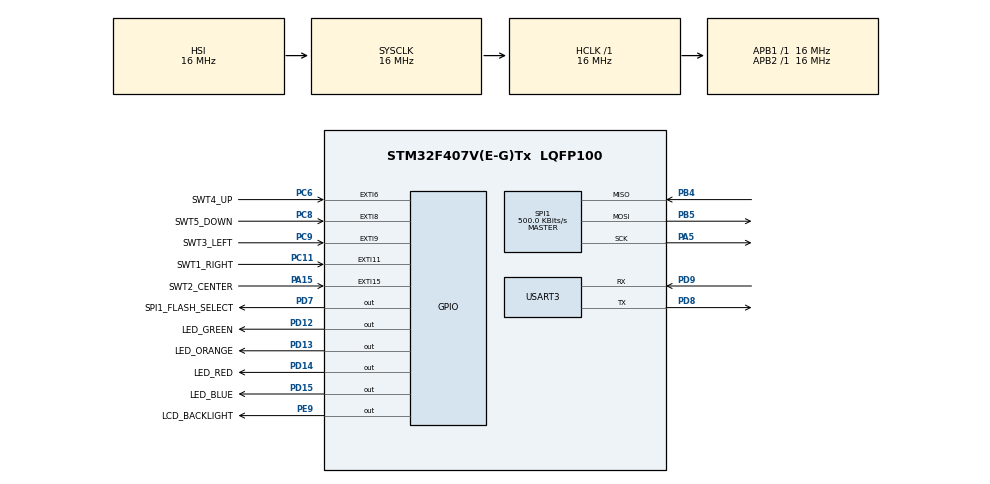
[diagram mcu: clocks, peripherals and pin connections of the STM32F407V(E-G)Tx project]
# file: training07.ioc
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Dma.Request0=USART3_TX
Dma.USART3_TX.0.Direction=DMA_MEMORY_TO_PERIPH
Dma.USART3_TX.0.FIFOMode=DMA_FIFOMODE_DISABLE
Dma.USART3_TX.0.Instance=DMA1_Stream3
Dma.USART3_TX.0.MemDataAlignment=DMA_MDATAALIGN_BYTE
Dma.USART3_TX.0.MemInc=DMA_MINC_ENABLE
Dma.USART3_TX.0.Mode=DMA_NORMAL
Dma.USART3_TX.0.PeriphDataAlignment=DMA_PDATAALIGN_BYTE
Dma.USART3_TX.0.PeriphInc=DMA_PINC_DISABLE
Dma.USART3_TX.0.Priority=DMA_PRIORITY_LOW
Mcu.Family=STM32F4
Mcu.Name=STM32F407V(E-G)Tx
Mcu.Package=LQFP100
NVIC.DMA1_Stream3_IRQn=true\:0\:0\:false\:false\:true\:false\:true
NVIC.EXTI15_10_IRQn=true\:0\:0\:false\:false\:true\:true\:true
NVIC.EXTI9_5_IRQn=true\:0\:0\:false\:false\:true\:true\:true
NVIC.PriorityGroup=NVIC_PRIORITYGROUP_4
NVIC.USART3_IRQn=true\:0\:0\:false\:false\:true\:true\:true
PA13.Mode=Trace_Asynchronous_SW
PA13.Signal=SYS_JTMS-SWDIO
PA14.Mode=Trace_Asynchronous_SW
PA14.Signal=SYS_JTCK-SWCLK
PA15.GPIO_Label=SWT2_CENTER
PA15.GPIO_ModeDefaultEXTI=GPIO_MODE_IT_FALLING
PA15.Signal=GPXTI15
PA5.Mode=Full_Duplex_Master
PA5.Signal=SPI1_SCK
PB3.Mode=Trace_Asynchronous_SW
PB3.Signal=SYS_JTDO-SWO
PB4.Mode=Full_Duplex_Master
PB4.Signal=SPI1_MISO
PB5.Mode=Full_Duplex_Master
PB5.Signal=SPI1_MOSI
PC11.GPIO_Label=SWT1_RIGHT
PC11.GPIO_ModeDefaultEXTI=GPIO_MODE_IT_FALLING
PC11.Signal=GPXTI11
PC6.GPIO_Label=SWT4_UP
PC6.GPIO_ModeDefaultEXTI=GPIO_MODE_IT_FALLING
PC6.Signal=GPXTI6
PC8.GPIO_Label=SWT5_DOWN
PC8.GPIO_ModeDefaultEXTI=GPIO_MODE_IT_FALLING
PC8.Signal=GPXTI8
PC9.GPIO_Label=SWT3_LEFT
PC9.GPIO_ModeDefaultEXTI=GPIO_MODE_IT_FALLING
PC9.Signal=GPXTI9
PD12.GPIO_Label=LED_GREEN
PD12.GPIO_PuPd=GPIO_PULLDOWN
PD12.Signal=GPIO_Output
PD13.GPIO_Label=LED_ORANGE
PD13.GPIO_PuPd=GPIO_PULLDOWN
PD13.Signal=GPIO_Output
PD14.GPIO_Label=LED_RED
PD14.GPIO_PuPd=GPIO_PULLDOWN
PD14.Signal=GPIO_Output
PD15.GPIO_Label=LED_BLUE
PD15.GPIO_PuPd=GPIO_PULLDOWN
PD15.Signal=GPIO_Output
PD7.GPIO_Label=SPI1_FLASH_SELECT
PD7.GPIO_Speed=GPIO_SPEED_FREQ_HIGH
PD7.PinState=GPIO_PIN_SET
PD7.Signal=GPIO_Output
PD8.Mode=Asynchronous
PD8.Signal=USART3_TX
PD9.Mode=Asynchronous
PD9.Signal=USART3_RX
PE9.GPIO_Label=LCD_BACKLIGHT
PE9.GPIO_ModeDefaultOutputPP=GPIO_MODE_OUTPUT_PP
PE9.Signal=GPIO_Output
PH0-OSC_IN.Mode=HSE-External-Oscillator
PH0-OSC_IN.Signal=RCC_OSC_IN
PH1-OSC_OUT.Mode=HSE-External-Oscillator
PH1-OSC_OUT.Signal=RCC_OSC_OUT
ProjectManager.HeapSize=0x200
ProjectManager.StackSize=0x400
ProjectManager.TargetToolchain=STM32CubeIDE
RCC.48MHZClocksFreq_Value=48000000
RCC.AHBFreq_Value=16000000
RCC.APB1Freq_Value=16000000
RCC.APB1TimFreq_Value=16000000
RCC.APB2Freq_Value=16000000
RCC.APB2TimFreq_Value=16000000
RCC.CortexFreq_Value=16000000
RCC.HCLKFreq_Value=16000000
RCC.HSE_VALUE=8000000
RCC.HSI_VALUE=16000000
RCC.LSE_VALUE=32768
RCC.PLLM=8
RCC.PLLSourceVirtual=RCC_PLLSOURCE_HSE
RCC.SYSCLKFreq_VALUE=16000000
RCC.VCOOutputFreq_Value=192000000
SPI1.BaudRatePrescaler=SPI_BAUDRATEPRESCALER_32
SPI1.CalculateBaudRate=500.0 KBits/s
SPI1.Direction=SPI_DIRECTION_2LINES
SPI1.Mode=SPI_MODE_MASTER
SPI1.VirtualType=VM_MASTER
USART3.VirtualMode=VM_ASYNC
board=custom

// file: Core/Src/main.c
/* USER CODE BEGIN Header */
/**
  ******************************************************************************
  * @file           : main.c
  * @brief          : Main program body
  ******************************************************************************
  * @attention
  *
  * <h2><center>&copy; Copyright (c) 2021 STMicroelectronics.
  * All rights reserved.</center></h2>
  *
  * This software component is licensed by ST under BSD 3-Clause license,
  * the "License"; You may not use this file except in compliance with the
  * License. You may obtain a copy of the License at:
  *                        opensource.org/licenses/BSD-3-Clause
  *
  ******************************************************************************
  */
/* USER CODE END Header */
#include "main.h"

/* USER CODE BEGIN Includes */
#include <stdio.h>
#include <ctype.h>
#include <string.h>
#include "print.h"
#include "SST25VF016B.h"
/* USER CODE END Includes */

/* USER CODE BEGIN PTD */
typedef enum {
	CMD_NONE = 0,
	CMD_READ,
	CMD_ERASE,
	CMD_WRITE,
} FlashCmd_t;
/* USER CODE END PTD */

/* USER CODE BEGIN PD */
#define PAGE_SIZE 4096
/* USER CODE END PD */

/* USER CODE BEGIN PM */
#define xstr(s) str(s)
#define str(s) #s
/* USER CODE END PM */

SPI_HandleTypeDef hspi1;

UART_HandleTypeDef huart3;
DMA_HandleTypeDef hdma_usart3_tx;

/* USER CODE BEGIN PV */
#define MAX_LINE_LEN 80
char lineBuffer[MAX_LINE_LEN] = {0};

#define TEXT_LINES 20
const char *text[TEXT_LINES] = {
		"From: Dmytro Kovalenko, dmytro.se.kovalenko@gmail.com\n",
		"Mentor: Denys Kondratenko, denys.kondratenko@globallogic.com\n",
		"Date: 2021.11.24\n",
		"TIME CAPSULE\n",
		" -- Brian W. Kernighan -- \n",
		"Don’t comment bad code—rewrite it.\n",
		"C is not a big language, and it is not well served by a big book.\n",
		" -- Linus Torvalds -- \n",
		"Software is like sex : it's better when it's free...\n",
		"Given enough eyeballs, all bugs are shallow.\n",
		"I'd argue that everybody wants to do something that matters.\n",
		"Talk is cheap. Show me the code.\n",
		" -- Bjarne Stroustrup -- \n",
		"If you think it's simple, then you have misunderstood the problem.\n",
		"Proof by analogy is fraud.\n",
		"Do not proceed with a mess, messes just grow with time.\n",
		" -- Steve Jobs -- \n",
		"Things don't have to change the world to be important.\n",
		" -- Elon Musk -- \n",
		"Any product that needs a manual to work is broken.\n"
};

volatile FlashCmd_t command = CMD_NONE;
/* USER CODE END PV */

void SystemClock_Config(void);
static void MX_GPIO_Init(void);
static void MX_DMA_Init(void);
static void MX_USART3_UART_Init(void);
static void MX_SPI1_Init(void);

/* USER CODE BEGIN 0 */
void readMem(SPIMEM_HandleDef *hmem) {
	print("> Chip read...\n");
	char lineBuf[MAX_LINE_LEN];
	for (int page = 0; page < TEXT_LINES; page++) {
	  spimem_read(hmem, page*PAGE_SIZE, (uint8_t*)lineBuf, MAX_LINE_LEN);
	  for (int j = 0; j<MAX_LINE_LEN; j++)
		  if (lineBuf[j] == 0xFF || lineBuf[j] == '\n') {
			  lineBuf[j] = '\0';
			  break;
		  }
	  printf("page %02d: '%." xstr(MAX_LINE_LEN) "s'\n", page, lineBuf);
	}
	print("done\n");
}

void eraseMem(SPIMEM_HandleDef *hmem) {
	print("> Chip erase...");
	spimem_unlock(hmem);
	spimem_erase_all(hmem);
	spimem_lock(hmem);
	print("done\n");
}

void writeMem(SPIMEM_HandleDef *hmem) {
	print("> Chip write...");
	spimem_unlock(hmem);
	for (int i = 0; i < TEXT_LINES; i++)
	  spimem_write(hmem, i*PAGE_SIZE, (uint8_t*)text[i], strlen(text[i]));
	spimem_lock(hmem);
	print("done\n");
}

/**
  * @brief  EXTI line detection callbacks.
  * @param  GPIO_Pin Specifies the pins connected EXTI line
  * @retval None
  */
void HAL_GPIO_EXTI_Callback(uint16_t GPIO_Pin)
{
	switch(GPIO_Pin) {
	case SWT2_CENTER_Pin:
		if (command == CMD_NONE)
			command = CMD_READ;
		break;
	case SWT5_DOWN_Pin:
		if (command == CMD_NONE)
			command = CMD_WRITE;
		break;
	case SWT4_UP_Pin:
		if (command == CMD_NONE)
			command = CMD_ERASE;
		break;
	}
}
/* USER CODE END 0 */

int main(void)
{

  /* MCU Configuration--------------------------------------------------------*/

  /* Reset of all peripherals, Initializes the Flash interface and the Systick. */
  HAL_Init();

  /* Configure the system clock */
  SystemClock_Config();

  /* Initialize all configured peripherals */
  MX_GPIO_Init();
  MX_DMA_Init();
  MX_USART3_UART_Init();
  MX_SPI1_Init();
  /* USER CODE BEGIN 2 */
  SPIMEM_HandleDef hmem = {.hspi = &hspi1, .cePort = SPI1_FLASH_SELECT_GPIO_Port, .cePin = SPI1_FLASH_SELECT_Pin };

  print("\033[2J\033[H");
  print("Press:\n"
		"SWT4 - erase\n"
		"SWT2 - read\n"
		"SWT5 - write\n");

  uint8_t memID[2];
  spimem_getid(&hmem, memID);
  printf("MemID: ");
  for (int i = 0; i<2; i++)
	  printf("%02x", memID[i]);
  printf("\n");
    /* USER CODE END 2 */

  /* Infinite loop */
  /* USER CODE BEGIN WHILE */
  while (1)
  {
	  while (command == CMD_NONE);
	  switch(command) {
	  case CMD_READ:
		  readMem(&hmem);
		  break;
	  case CMD_WRITE:
		  writeMem(&hmem);
		  break;
	  case CMD_ERASE:
		  eraseMem(&hmem);
		  break;
	  default:
		  break;
	  }
	  command = CMD_NONE;
    /* USER CODE END WHILE */
  }
}

void SystemClock_Config(void)
{
  RCC_OscInitTypeDef RCC_OscInitStruct = {0};
  RCC_ClkInitTypeDef RCC_ClkInitStruct = {0};

  /** Configure the main internal regulator output voltage
  */
  __HAL_RCC_PWR_CLK_ENABLE();
  __HAL_PWR_VOLTAGESCALING_CONFIG(PWR_REGULATOR_VOLTAGE_SCALE1);
  /** Initializes the RCC Oscillators according to the specified parameters
  * in the RCC_OscInitTypeDef structure.
  */
  RCC_OscInitStruct.OscillatorType = RCC_OSCILLATORTYPE_HSI;
  RCC_OscInitStruct.HSIState = RCC_HSI_ON;
  RCC_OscInitStruct.HSICalibrationValue = RCC_HSICALIBRATION_DEFAULT;
  RCC_OscInitStruct.PLL.PLLState = RCC_PLL_NONE;
  if (HAL_RCC_OscConfig(&RCC_OscInitStruct) != HAL_OK)
  {
    Error_Handler();
  }
  /** Initializes the CPU, AHB and APB buses clocks
  */
  RCC_ClkInitStruct.ClockType = RCC_CLOCKTYPE_HCLK|RCC_CLOCKTYPE_SYSCLK
                              |RCC_CLOCKTYPE_PCLK1|RCC_CLOCKTYPE_PCLK2;
  RCC_ClkInitStruct.SYSCLKSource = RCC_SYSCLKSOURCE_HSI;
  RCC_ClkInitStruct.AHBCLKDivider = RCC_SYSCLK_DIV1;
  RCC_ClkInitStruct.APB1CLKDivider = RCC_HCLK_DIV1;
  RCC_ClkInitStruct.APB2CLKDivider = RCC_HCLK_DIV1;

  if (HAL_RCC_ClockConfig(&RCC_ClkInitStruct, FLASH_LATENCY_0) != HAL_OK)
  {
    Error_Handler();
  }
}

static void MX_SPI1_Init(void)
{

  /* SPI1 parameter configuration*/
  hspi1.Instance = SPI1;
  hspi1.Init.Mode = SPI_MODE_MASTER;
  hspi1.Init.Direction = SPI_DIRECTION_2LINES;
  hspi1.Init.DataSize = SPI_DATASIZE_8BIT;
  hspi1.Init.CLKPolarity = SPI_POLARITY_LOW;
  hspi1.Init.CLKPhase = SPI_PHASE_1EDGE;
  hspi1.Init.NSS = SPI_NSS_SOFT;
  hspi1.Init.BaudRatePrescaler = SPI_BAUDRATEPRESCALER_32;
  hspi1.Init.FirstBit = SPI_FIRSTBIT_MSB;
  hspi1.Init.TIMode = SPI_TIMODE_DISABLE;
  hspi1.Init.CRCCalculation = SPI_CRCCALCULATION_DISABLE;
  hspi1.Init.CRCPolynomial = 10;
  if (HAL_SPI_Init(&hspi1) != HAL_OK)
  {
    Error_Handler();
  }

}

static void MX_USART3_UART_Init(void)
{

  huart3.Instance = USART3;
  huart3.Init.BaudRate = 115200;
  huart3.Init.WordLength = UART_WORDLENGTH_8B;
  huart3.Init.StopBits = UART_STOPBITS_1;
  huart3.Init.Parity = UART_PARITY_NONE;
  huart3.Init.Mode = UART_MODE_TX_RX;
  huart3.Init.HwFlowCtl = UART_HWCONTROL_NONE;
  huart3.Init.OverSampling = UART_OVERSAMPLING_16;
  if (HAL_UART_Init(&huart3) != HAL_OK)
  {
    Error_Handler();
  }

}

static void MX_DMA_Init(void)
{

  /* DMA controller clock enable */
  __HAL_RCC_DMA1_CLK_ENABLE();

  /* DMA interrupt init */
  /* DMA1_Stream3_IRQn interrupt configuration */
  HAL_NVIC_SetPriority(DMA1_Stream3_IRQn, 0, 0);
  HAL_NVIC_EnableIRQ(DMA1_Stream3_IRQn);

}

static void MX_GPIO_Init(void)
{
  GPIO_InitTypeDef GPIO_InitStruct = {0};

  /* GPIO Ports Clock Enable */
  __HAL_RCC_GPIOH_CLK_ENABLE();
  __HAL_RCC_GPIOA_CLK_ENABLE();
  __HAL_RCC_GPIOE_CLK_ENABLE();
  __HAL_RCC_GPIOD_CLK_ENABLE();
  __HAL_RCC_GPIOC_CLK_ENABLE();
  __HAL_RCC_GPIOB_CLK_ENABLE();

  /*Configure GPIO pin Output Level */
  HAL_GPIO_WritePin(LCD_BACKLIGHT_GPIO_Port, LCD_BACKLIGHT_Pin, GPIO_PIN_RESET);

  /*Configure GPIO pin Output Level */
  HAL_GPIO_WritePin(GPIOD, LED_GREEN_Pin|LED_ORANGE_Pin|LED_RED_Pin|LED_BLUE_Pin, GPIO_PIN_RESET);

  /*Configure GPIO pin Output Level */
  HAL_GPIO_WritePin(SPI1_FLASH_SELECT_GPIO_Port, SPI1_FLASH_SELECT_Pin, GPIO_PIN_SET);

  /*Configure GPIO pin : LCD_BACKLIGHT_Pin */
  GPIO_InitStruct.Pin = LCD_BACKLIGHT_Pin;
  GPIO_InitStruct.Mode = GPIO_MODE_OUTPUT_PP;
  GPIO_InitStruct.Pull = GPIO_NOPULL;
  GPIO_InitStruct.Speed = GPIO_SPEED_FREQ_LOW;
  HAL_GPIO_Init(LCD_BACKLIGHT_GPIO_Port, &GPIO_InitStruct);

  /*Configure GPIO pins : LED_GREEN_Pin LED_ORANGE_Pin LED_RED_Pin LED_BLUE_Pin */
  GPIO_InitStruct.Pin = LED_GREEN_Pin|LED_ORANGE_Pin|LED_RED_Pin|LED_BLUE_Pin;
  GPIO_InitStruct.Mode = GPIO_MODE_OUTPUT_PP;
  GPIO_InitStruct.Pull = GPIO_PULLDOWN;
  GPIO_InitStruct.Speed = GPIO_SPEED_FREQ_LOW;
  HAL_GPIO_Init(GPIOD, &GPIO_InitStruct);

  /*Configure GPIO pins : SWT4_UP_Pin SWT5_DOWN_Pin SWT3_LEFT_Pin SWT1_RIGHT_Pin */
  GPIO_InitStruct.Pin = SWT4_UP_Pin|SWT5_DOWN_Pin|SWT3_LEFT_Pin|SWT1_RIGHT_Pin;
  GPIO_InitStruct.Mode = GPIO_MODE_IT_FALLING;
  GPIO_InitStruct.Pull = GPIO_NOPULL;
  HAL_GPIO_Init(GPIOC, &GPIO_InitStruct);

  /*Configure GPIO pin : SWT2_CENTER_Pin */
  GPIO_InitStruct.Pin = SWT2_CENTER_Pin;
  GPIO_InitStruct.Mode = GPIO_MODE_IT_FALLING;
  GPIO_InitStruct.Pull = GPIO_NOPULL;
  HAL_GPIO_Init(SWT2_CENTER_GPIO_Port, &GPIO_InitStruct);

  /*Configure GPIO pin : SPI1_FLASH_SELECT_Pin */
  GPIO_InitStruct.Pin = SPI1_FLASH_SELECT_Pin;
  GPIO_InitStruct.Mode = GPIO_MODE_OUTPUT_PP;
  GPIO_InitStruct.Pull = GPIO_NOPULL;
  GPIO_InitStruct.Speed = GPIO_SPEED_FREQ_HIGH;
  HAL_GPIO_Init(SPI1_FLASH_SELECT_GPIO_Port, &GPIO_InitStruct);

  /* EXTI interrupt init*/
  HAL_NVIC_SetPriority(EXTI9_5_IRQn, 0, 0);
  HAL_NVIC_EnableIRQ(EXTI9_5_IRQn);

  HAL_NVIC_SetPriority(EXTI15_10_IRQn, 0, 0);
  HAL_NVIC_EnableIRQ(EXTI15_10_IRQn);

}

void Error_Handler(void)
{
  __disable_irq();
  while (1)
  {
  }
}

/************************ (C) COPYRIGHT STMicroelectronics *****END OF FILE****/
